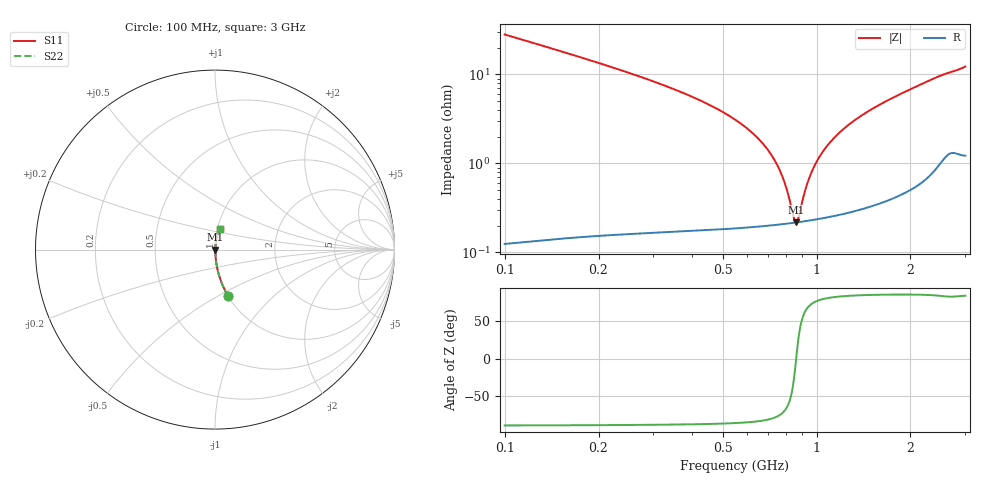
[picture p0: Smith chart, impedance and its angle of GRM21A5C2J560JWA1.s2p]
!Murata Part Number: GRM21A5C2J560JWA1
!These Parameters are Measured in Series Mode Connection
!Data Generated on Mar 30, 2021
!  o--ll--o
!Port1  Port2
!  o------o
!Operation Temp=25[degC], DC Bias Voltage=0[V]
!Freq. Start=100[MHz] Stop=3[GHz] 401[Steps]
# Hz S RI R 50
!Freq.(Hz) S11(Real) S11(Imag) S21(Real) S21(Imag) S12(Real) S12(Imag) S22(Real) S22(Imag)
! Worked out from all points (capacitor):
!   401 points, 100 MHz to 3 GHz, reference 50 ohm
!   read as one part in series: C = 55.9 pF near 114.5 MHz
!   lowest |Z| = 218 mohm at 861.2 MHz (marker M1)
!   series resonance near 860.5 MHz, so ESL is about 610 pH
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1e8  0.0742 -0.2599  0.9258 0.2599  0.9258 0.2599  0.0742 -0.2599
1.725e8  0.0259 -0.1541  0.9741 0.1541  0.9741 0.1541  0.0259 -0.1541
2.45e8  0.0128 -0.1053  0.9872 0.1053  0.9872 0.1053  0.0128 -0.1053
3.8275e8  0.00527 -0.0594  0.9947 0.0594  0.9947 0.0594  0.00527 -0.0594
5.8575e8  0.00257 -0.0261  0.9974 0.0261  0.9974 0.0261  0.00257 -0.0261
6.8e8  0.00223 -0.0158  0.9978 0.0158  0.9978 0.0158  0.00223 -0.0158
7.4525e8  0.00213 -0.0096  0.9979 0.0096  0.9979 0.0096  0.00213 -0.0096
7.96e8  0.00212 -0.0052  0.9979 0.0052  0.9979 0.0052  0.00212 -0.0052
8.4675e8  0.00215 -0.00107  0.9978 0.00107  0.9978 0.00107  0.00215 -0.00107
8.6125e8  0.00217 5.85e-05  0.9978 -5.85e-05  0.9978 -5.85e-05  0.00217 5.85e-05
8.7575e8  0.00219 0.00117  0.9978 -0.00117  0.9978 -0.00117  0.00219 0.00117
9.1925e8  0.00226 0.00442  0.9977 -0.00442  0.9977 -0.00442  0.00226 0.00442
9.555e8  0.00234 0.00702  0.9977 -0.00702  0.9977 -0.00702  0.00234 0.00702
1.00625e9  0.00247 0.0105  0.9975 -0.0105  0.9975 -0.0105  0.00247 0.0105
1.0715e9  0.00268 0.0149  0.9973 -0.0149  0.9973 -0.0149  0.00268 0.0149
1.1585e9  0.00301 0.0204  0.997 -0.0204  0.997 -0.0204  0.00301 0.0204
1.26e9  0.00348 0.0265  0.9965 -0.0265  0.9965 -0.0265  0.00348 0.0265
1.3905e9  0.0042 0.034  0.9958 -0.034  0.9958 -0.034  0.0042 0.034
1.55e9  0.00526 0.0428  0.9947 -0.0428  0.9947 -0.0428  0.00526 0.0428
2.03575e9  0.01 0.069  0.99 -0.069  0.99 -0.069  0.01 0.069
2.5215e9  0.0196 0.0948  0.9804 -0.0948  0.9804 -0.0948  0.0196 0.0948
3e9  0.0262 0.1174  0.9738 -0.1174  0.9738 -0.1174  0.0262 0.1174
